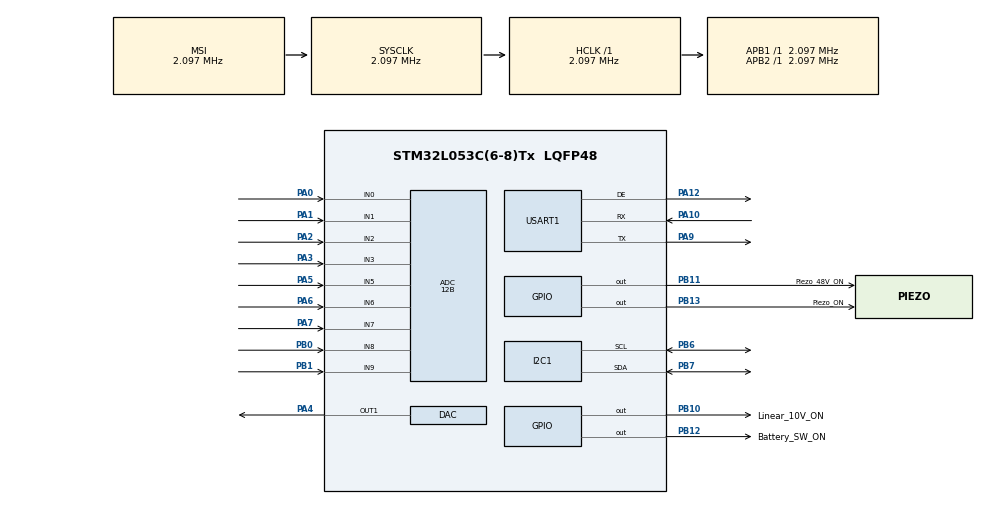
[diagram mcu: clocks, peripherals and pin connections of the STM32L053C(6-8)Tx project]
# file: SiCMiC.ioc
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ADC.ClockPrescaler=ADC_CLOCK_SYNC_PCLK_DIV1
ADC.ContinuousConvMode=ENABLE
ADC.DMAContinuousRequests=DISABLE
ADC.DataAlign=ADC_DATAALIGN_RIGHT
ADC.DiscontinuousConvMode=DISABLE
ADC.EOCSelection=ADC_EOC_SINGLE_CONV
ADC.EnableAnalogWatchDog=false
ADC.ExternalTrigConv=ADC_SOFTWARE_START
ADC.ExternalTrigConvEdge=ADC_EXTERNALTRIGCONVEDGE_NONE
ADC.LowPowerAutoPowerOff=ENABLE
ADC.LowPowerAutoWait=ENABLE
ADC.LowPowerFrequencyMode=ENABLE
ADC.Overrun=ADC_OVR_DATA_PRESERVED
ADC.OversamplingMode=DISABLE
ADC.Resolution=ADC_RESOLUTION_12B
ADC.SamplingTime=ADC_SAMPLETIME_1CYCLE_5
ADC.ScanConvMode=ADC_SCAN_DIRECTION_FORWARD
I2C1.OwnAddress=45
I2C1.Timing=0x00000E14
Mcu.Family=STM32L0
Mcu.Name=STM32L053C(6-8)Tx
Mcu.Package=LQFP48
NVIC.I2C1_IRQn=true\:0\:0\:false\:false\:true\:true\:true
PA0.Mode=IN0
PA0.Signal=ADC_IN0
PA1.Mode=IN1
PA1.Signal=ADC_IN1
PA10.Mode=Asynchronous
PA10.Signal=USART1_RX
PA12.Mode=Hardware Flow Control (RS485)
PA12.Signal=USART1_DE
PA13.GPIO_Label=SWDIO
PA13.Mode=Serial_Wire
PA13.Signal=SYS_SWDIO
PA14.Mode=Serial_Wire
PA14.Signal=SYS_SWCLK
PA2.Mode=IN2
PA2.Signal=ADC_IN2
PA3.Mode=IN3
PA3.Signal=ADC_IN3
PA4.Signal=COMP_DAC1_group
PA5.Mode=IN5
PA5.Signal=ADC_IN5
PA6.Mode=IN6
PA6.Signal=ADC_IN6
PA7.Mode=IN7
PA7.Signal=ADC_IN7
PA9.Mode=Asynchronous
PA9.Signal=USART1_TX
PB0.Mode=IN8
PB0.Signal=ADC_IN8
PB1.Mode=IN9
PB1.Signal=ADC_IN9
PB10.GPIO_Label=Linear_10V_ON
PB10.Signal=GPIO_Output
PB11.GPIO_Label=Piezo_48V_ON
PB11.Signal=GPIO_Output
PB12.GPIO_Label=Battery_SW_ON
PB12.Signal=GPIO_Output
PB13.GPIO_Label=Piezo_ON
PB13.GPIO_ModeDefaultOutputPP=GPIO_MODE_OUTPUT_OD
PB13.Signal=GPIO_Output
PB6.Mode=I2C
PB6.Signal=I2C1_SCL
PB7.Mode=I2C
PB7.Signal=I2C1_SDA
ProjectManager.HeapSize=0x200
ProjectManager.StackSize=0x400
ProjectManager.TargetToolchain=EWARM V7
RCC.ADCFreq_Value=4000000
RCC.AHBFreq_Value=2097000
RCC.APB1Freq_Value=2097000
RCC.APB1TimFreq_Value=2097000
RCC.APB2Freq_Value=2097000
RCC.APB2TimFreq_Value=2097000
RCC.DATA_CACHE_ENABLE=1
RCC.HCLKFreq_Value=2097000
RCC.HSE_VALUE=8000000
RCC.HSI16_VALUE=16000000
RCC.HSI48MClockSelection=RCC_USBCLKSOURCE_HSI48
RCC.HSI48_VALUE=48000000
RCC.HSIRCDiv=4
RCC.HSI_VALUE=4000000
RCC.I2c1ClockSelection=RCC_I2C1CLKSOURCE_HSI
RCC.LSE_VALUE=32768
RCC.MSI_VALUE=2097000
RCC.PLLDIV=RCC_PLLDIV_3
RCC.RTCClockSelectionVirtual=RCC_RTCCLKSOURCE_LSE
RCC.SYSCLKFreq_VALUE=2097000
RCC.Usart1ClockSelection=RCC_USART1CLKSOURCE_HSI
RCC.VCOOutputFreq_Value=12000000
RCC.VDD_VALUE=3.3
SH.COMP_DAC1_group.0=DAC_OUT1,DAC_OUT1
USART1.VirtualMode-Asynchronous=VM_ASYNC
USART1.VirtualMode-Hardware\ Flow\ Control\ (RS485)=VM_ASYNC
USART1.WordLength=WORDLENGTH_8B
VP_ADC_Vref_Input.Mode=IN-Vrefint
VP_IWDG_VS_IWDG.Mode=IWDG_Activate
board=STM32L0538DISCOVERY

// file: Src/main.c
/* USER CODE BEGIN Header */
/**
  ******************************************************************************
  * @file           : main.c
  * @brief          : Main program body
  ******************************************************************************
  * @attention
  *
  * <h2><center>&copy; Copyright (c) 2019 STMicroelectronics.
  * All rights reserved.</center></h2>
  *
  * This software component is licensed by ST under BSD 3-Clause license,
  * the "License"; You may not use this file except in compliance with the
  * License. You may obtain a copy of the License at:
  *                        opensource.org/licenses/BSD-3-Clause
  *
  ******************************************************************************
  */
/* USER CODE END Header */

#include <stdio.h>
#include <stdbool.h>

#include "main.h"
#include "adc.h"
#include "dac.h"
#include "i2c.h"
#include "iwdg.h"
#include "usart.h"
#include "gpio.h"
#include "stm32l0xx_hal_i2c.h"
#include "tools.h"
#include "test_driver.h"

/* USER CODE BEGIN Includes */
#include "piezo.h"
#include "msp_exp.h"
#include "eeprom_circular.h"
#include "msp_exp.h"
#include "msp_exp_state.h"
#include "interface_flags.h"
#include "tools.h"
#include "experiment_constants.h"
/* USER CODE END Includes */

/* USER CODE BEGIN PD */
//#define USE_HAL_I2C_REGISTER_CALLBACKS = 1;
/* USER CODE END PD */

/* USER CODE BEGIN PV */
uint8_t aBuffer[MSP_EXP_MAX_FRAME_SIZE];
unsigned long buffLength = 0;
uint8_t transferDirectionGlobal;
uint8_t volatile addr = 0x45; //defines the adress when only one i2c adress is used.
bool volatile has_function_to_execute = false;
void (* volatile command_ptr) () = NULL;
extern I2C_HandleTypeDef hi2c1;

void print16bit(uint8_t , uint8_t, uint8_t );
/* USER CODE END PV */

//
///* Private user code ---------------------------------------------------------*/
void SystemClock_Config(void);
void RECIVE_FINISHED(I2C_HandleTypeDef *hi2c);
uint8_t IF_DIRECTION_IS_RECIVE(I2C_HandleTypeDef *hi2c);
uint8_t IF_DIRECTION_IS_SEND(I2C_HandleTypeDef *hi2c);
void BUFF_LENTH(uint8_t* pBuffer, long *BufferLength);
uint8_t msp_error_code_receive;
uint8_t msp_error_code_send;

// TEST DRIVER debug
uint16_t addr_debug = 0x0;
uint8_t piezoBufferDebug[200];
uint8_t current_state = 0x0;
uint8_t sic_test_data[BUFFERLENGTH];
volatile uint16_t bffLength = BUFFERLENGTH;
uint16_t max_number_lines = 0;
uint16_t test_index = 0;
bool run_all = 0;
bool run_piezo = 0;
bool run_transceiver_RE_DE = 0;
bool run_10V = 0;
bool run_sic_test = 1;
bool run_dac = 0;

extern volatile struct msp_exp_state_information msp_exp_state;
bool ready = false;
//piezo_sic_type volatile piezo_sic = NONE;

int main(void)
{
  HAL_Init();
  SystemClock_Config();

  /* Initialize all configured peripherals */
  // the following funtion call will initialize the eeprom by clearing it.
  // reset_EEPROM_buffer(void);
  restore_seqflags();
  MX_GPIO_Init();
  MX_ADC_Init();
  MX_DAC_Init();
  MX_I2C1_Init();
  MX_USART1_UART_Init();

  while (1)
  {
    //start_driver(); // If this line is included, runs the test program instead

    if(HAL_I2C_Slave_TxRx_IT(&hi2c1, (uint8_t *)aBuffer, buffLength) != HAL_OK)
    {
      Error_Handler();
    }

    //wait for the i2c reception to finish this must timeout at some point, otherwise there is risk for getting stuck.
    while (HAL_I2C_GetState(&hi2c1) != HAL_I2C_STATE_READY)
    {

    }

    buff_length((uint8_t *)aBuffer, &buffLength);

    if(!transferDirectionGlobal)//if we recived a command
    {
       //this funtion returnes the negative error codes in MSP.
       msp_error_code_receive = msp_recv_callback((uint8_t *)aBuffer, buffLength, addr);
       msp_error_code_send = msp_send_callback((uint8_t *)aBuffer, &buffLength, addr);

       /* this tells us if we are in a msp transaktion, except for the time inbetween the msp code is running
        and the i2c code is running, needs to be covered by flow controll*/
    }
    else //if a command was sent
    {
       Flush_Buffer8((uint8_t *)aBuffer, buffLength);
       if(msp_exp_state.type == MSP_EXP_STATE_READY && has_function_to_execute)
       {
            (*command_ptr) ();
            has_function_to_execute = false;
       }
    }
  }
}

void start_driver(void){
  while(1){
    bffLength = BUFFERLENGTH;
    // This tests if 48V can be turned on and off

    if (run_transceiver_RE_DE){
      RS485(RS_MODE_TRANSMIT);
      HAL_Delay(50000);
     // RS485(RS_MODE_RECEIVE);
     // HAL_Delay(5000);
     // RS485(RS_MODE_DEACTIVATE);
     // HAL_Delay(5000);
    }

    if(run_piezo || run_all){
      current_state = 0x1;
      piezo_start_exp();
      HAL_Delay(300000);

      current_state = 0x2;
      piezo_stop_exp();

      piezo_get_data((uint8_t*) piezoBufferDebug, 0);
      uint16_t length = piezo_get_data_length();
      //printf("%d\n", length);

      for(uint8_t i = 0; i<length/2; i++){
        //printf("0x%X ", sic_test_data[i]);
       if(i % 8 == 0){
         printf("\n");
        }
        print16bit(piezoBufferDebug[i*2], piezoBufferDebug[i*2+1], 1);
     }

      for(uint8_t i = 0; i<length; i++){
        //printf("0x%X ", sic_test_data[i]);
        if(i % 8 == 0){
          printf("\n");
        }
        printf("0x%02x\t", piezoBufferDebug[i]);
      }
      HAL_Delay(60000);
    }

    // Test if the LDO(U3_regul10V) can be turned on and off.
    // There is no pin for 10V, so a multimeter or probe will have to be used on U3
    if(run_10V || run_all){
      current_state = 0x3;
      sic_power_on();
      HAL_Delay(5000);

      current_state = 0x4;
      sic_power_off();
      HAL_Delay(5000);

    }

    if(run_sic_test || run_all){
      if(max_number_lines < 360){
        current_state = 0x4;
        start_test();
        sic_get_data((uint8_t*) sic_test_data, 0);

        for(test_index = 0; test_index<BUFFERLENGTH/2; test_index++){
          //printf("0x%X ", sic_test_data[i]);

          if(test_index % 8 == 0 && test_index != 0){
            printf("\n");
            max_number_lines++;
          }

          print16bit(sic_test_data[test_index*2], sic_test_data[test_index*2+1], 0);

        }
        printf("\n");
        //sic_power_off();
        //HAL_Delay(100);
      }
      else {
        printf("Please save data from the terminal now. Max number of lines almost reached.\n");
        max_number_lines = 0;
      }

    }

    if (run_dac){
      sic_power_on();
      setDAC_voltage(700);
      HAL_Delay(10000);

      setDAC_voltage(1200);
      HAL_Delay(10000);

      setDAC_voltage(2100);
      HAL_Delay(10000);

      setDAC_voltage(2800);
      HAL_Delay(10000);

      //setDAC(1.2*1241);
      //HAL_Delay(10000);

      //setDAC(2.1*1241);
     // HAL_Delay(10000);

    //  setDAC(2.8*1241);
    //  HAL_Delay(10000);

      sic_power_off();
      setDAC(0);
      HAL_Delay(3000);

      //sic_power_on();
      //setDAC(2.8*1241);
      HAL_Delay(1000);
    }
    //piezo_get_data(&piezoBufferDebug, 30);

  }
}

void print16bit(uint8_t biggest_number, uint8_t smallest_number, uint8_t number_format){
  uint16_t val = (biggest_number << 8) + smallest_number;
  switch(number_format){
    case 0:
      printf("%d\t", val);
      break;

    case 1:
      printf("0x%x\t", val);
      break;

    case 2:
      printf("0x02%x\t", val);
      break;

  }
  //printf("%d\t", val);
}

/**
  * @brief A callback from the hal i2c library
  * @param i2c handle
  * @param the direction of the communication
  * @param the adress that was called
  * @retval None
  */
void HAL_I2C_AddrCallback(I2C_HandleTypeDef *i2cHandle, uint8_t transferDirection, uint16_t addrMatchCode)
{
  transferDirectionGlobal = transferDirection;
  addr_debug = addrMatchCode;
// the code bellow is neede if two i2c adresses should be used.
//  if (addrMatchCode == 138)//202
//  {
//    addr = 0x45;
//    piezo_sic = SIC;
//  }
//  if (addrMatchCode == 202)//138
//  {
//    addr = 0x65;
//    piezo_sic = PIEZO;
//  }
}

void SystemClock_Config(void)
{
  RCC_OscInitTypeDef RCC_OscInitStruct = {0};
  RCC_ClkInitTypeDef RCC_ClkInitStruct = {0};
  RCC_PeriphCLKInitTypeDef PeriphClkInit = {0};

  /** Configure the main internal regulator output voltage
  */
  __HAL_PWR_VOLTAGESCALING_CONFIG(PWR_REGULATOR_VOLTAGE_SCALE1);
  /** Initializes the CPU, AHB and APB busses clocks
  */
  RCC_OscInitStruct.OscillatorType = RCC_OSCILLATORTYPE_HSI|RCC_OSCILLATORTYPE_LSI
                              |RCC_OSCILLATORTYPE_MSI;
  RCC_OscInitStruct.HSIState = RCC_HSI_DIV4;//DIV4
  RCC_OscInitStruct.HSICalibrationValue = RCC_HSICALIBRATION_DEFAULT;
  RCC_OscInitStruct.LSIState = RCC_LSI_ON;
  RCC_OscInitStruct.MSIState = RCC_MSI_ON;
  RCC_OscInitStruct.MSICalibrationValue = 0;
  RCC_OscInitStruct.MSIClockRange = RCC_MSIRANGE_6;//6
  RCC_OscInitStruct.PLL.PLLState = RCC_PLL_NONE;
  if (HAL_RCC_OscConfig(&RCC_OscInitStruct) != HAL_OK)
  {
    Error_Handler();
  }
  /** Initializes the CPU, AHB and APB busses clocks
  */
  RCC_ClkInitStruct.ClockType = RCC_CLOCKTYPE_HCLK|RCC_CLOCKTYPE_SYSCLK
                              |RCC_CLOCKTYPE_PCLK1|RCC_CLOCKTYPE_PCLK2;
  RCC_ClkInitStruct.SYSCLKSource = RCC_SYSCLKSOURCE_MSI;
  RCC_ClkInitStruct.AHBCLKDivider = RCC_SYSCLK_DIV1;
  RCC_ClkInitStruct.APB1CLKDivider = RCC_HCLK_DIV1;
  RCC_ClkInitStruct.APB2CLKDivider = RCC_HCLK_DIV1;

  if (HAL_RCC_ClockConfig(&RCC_ClkInitStruct, FLASH_LATENCY_0) != HAL_OK)
  {
    Error_Handler();
  }
  PeriphClkInit.PeriphClockSelection = RCC_PERIPHCLK_USART1|RCC_PERIPHCLK_I2C1;
  PeriphClkInit.Usart1ClockSelection = RCC_USART1CLKSOURCE_HSI;
  PeriphClkInit.I2c1ClockSelection = RCC_I2C1CLKSOURCE_HSI;
  if (HAL_RCCEx_PeriphCLKConfig(&PeriphClkInit) != HAL_OK)
  {
    Error_Handler();
  }
}

void Error_Handler(void)
{
  while(1)
  {
  }
}

/************************ (C) COPYRIGHT STMicroelectronics *****END OF FILE****/
